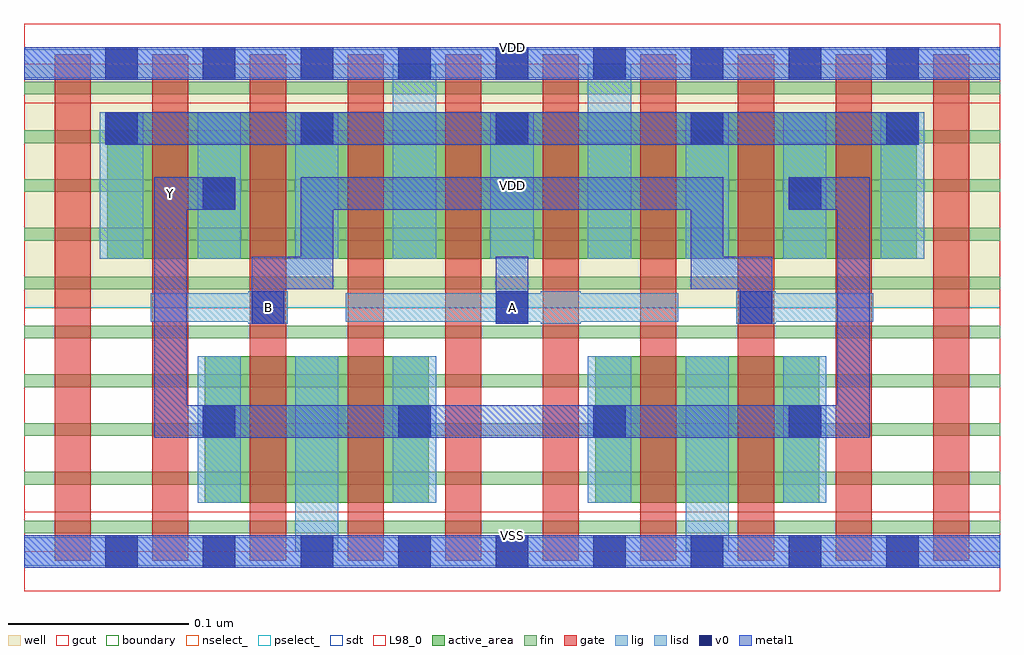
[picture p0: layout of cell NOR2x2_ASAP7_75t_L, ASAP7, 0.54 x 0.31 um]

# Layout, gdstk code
import gdstk
lib = gdstk.Library(unit=1e-6, precision=2.5e-10)
def R(c, l, rs):  # rectangles x0, y0, x1, y1
    for r in rs: c.add(gdstk.rectangle(r[:2], r[2:], *l))
def A(c, l, x, y, w, h, nx, ny, dx, dy):  # array of equal rectangles
    R(c, l, [(x+i*dx, y+j*dy, x+i*dx+w, y+j*dy+h) for i in range(nx) for j in range(ny)])
def P(c, l, *ps):  # polygons
    for p in ps: c.add(gdstk.Polygon(p, *l))
well = (1, 0)
fin = (2, 0)
gate = (7, 0)
gcut = (10, 0)
active_area = (11, 0)
nselect_ = (12, 0)
pselect_ = (13, 0)
lig = (16, 0)
lisd = (17, 0)
v0 = (18, 0)
metal1 = (19, 0)
sdt = (88, 0)
L98_0 = (98, 0)
boundary = (100, 0)

nor2x2_asap7_75t_l = lib.new_cell('NOR2x2_ASAP7_75t_L')
R(nor2x2_asap7_75t_l, well, [(0,0.135,0.54,0.27)])
A(nor2x2_asap7_75t_l, fin, 0, 0.01, 0.54, 0.007, 1, 10, 0, 0.027)
A(nor2x2_asap7_75t_l, gate, 0.017, -0.005, 0.02, 0.28, 10, 1, 0.054, 0)
R(nor2x2_asap7_75t_l, gcut, [(0,-0.022,0.54,0.022), (0,0.248,0.54,0.292)])
R(nor2x2_asap7_75t_l, active_area, [(0.1,0.027,0.224,0.108), (0.316,0.027,0.44,0.108), (0.046,0.162,0.494,0.243)])
R(nor2x2_asap7_75t_l, nselect_, [(0,0,0.54,0.135)])
R(nor2x2_asap7_75t_l, pselect_, [(0,0.135,0.54,0.27)])
R(nor2x2_asap7_75t_l, lig, [(0,-0.008,0.54,0.008), (0.124,0.126,0.146,0.144), (0.286,0.126,0.308,0.144), (0.394,0.126,0.416,0.144), (0.07,0.127,0.146,0.143), (0.178,0.127,0.362,0.143), (0.394,0.127,0.47,0.143), (0,0.262,0.54,0.278)])
A(nor2x2_asap7_75t_l, lisd, 0.096, 0.027, 0.024, 0.081, 4, 1, 0.108, 0)
A(nor2x2_asap7_75t_l, lisd, 0.042, 0.162, 0.024, 0.081, 3, 1, 0.054, 0)
A(nor2x2_asap7_75t_l, lisd, 0.366, 0.162, 0.024, 0.081, 3, 1, 0.054, 0)
R(nor2x2_asap7_75t_l, lisd, [(0.15,0,0.174,0.108), (0.15,0,0.174,0.108), (0.366,0,0.39,0.108), (0.366,0,0.39,0.108), (0.204,0.162,0.228,0.27), (0.204,0.162,0.228,0.27), (0.258,0.162,0.282,0.243), (0.312,0.162,0.336,0.27), (0.312,0.162,0.336,0.27)])
A(nor2x2_asap7_75t_l, v0, 0.045, -0.009, 0.018, 0.018, 9, 2, 0.054, 0.27)
A(nor2x2_asap7_75t_l, v0, 0.099, 0.063, 0.018, 0.018, 4, 1, 0.108, 0)
A(nor2x2_asap7_75t_l, v0, 0.126, 0.126, 0.018, 0.018, 3, 1, 0.135, 0)
A(nor2x2_asap7_75t_l, v0, 0.045, 0.225, 0.018, 0.018, 5, 1, 0.108, 0)
R(nor2x2_asap7_75t_l, v0, [(0.099,0.189,0.117,0.207), (0.423,0.189,0.441,0.207)])
A(nor2x2_asap7_75t_l, metal1, 0.099, 0.063, 0.018, 0.018, 4, 1, 0.108, 0)
A(nor2x2_asap7_75t_l, metal1, 0.126, 0.126, 0.018, 0.018, 3, 1, 0.135, 0)
A(nor2x2_asap7_75t_l, metal1, 0.045, 0.225, 0.018, 0.018, 5, 1, 0.108, 0)
R(nor2x2_asap7_75t_l, metal1, [(0,-0.009,0.54,0.009), (0.261,0.126,0.279,0.163), (0.099,0.189,0.117,0.207), (0.423,0.189,0.441,0.207), (0.045,0.225,0.495,0.243), (0,0.261,0.54,0.279)])
P(nor2x2_asap7_75t_l, metal1, [(0.396,0.126),(0.414,0.126),(0.414,0.163),(0.387,0.163),(0.387,0.207),(0.153,0.207),(0.153,0.163),(0.126,0.163),(0.126,0.126),(0.144,0.126),(0.144,0.145),(0.171,0.145),(0.171,0.189),(0.369,0.189),(0.369,0.145),(0.396,0.145)],
  [(0.423,0.207),(0.423,0.189),(0.45,0.189),(0.45,0.081),(0.09,0.081),(0.09,0.189),(0.117,0.189),(0.117,0.207),(0.072,0.207),(0.072,0.063),(0.468,0.063),(0.468,0.207)])
A(nor2x2_asap7_75t_l, sdt, 0.042, 0.162, 0.024, 0.081, 4, 1, 0.054, 0)
A(nor2x2_asap7_75t_l, sdt, 0.204, 0.162, 0.024, 0.081, 3, 1, 0.054, 0)
A(nor2x2_asap7_75t_l, sdt, 0.312, 0.162, 0.024, 0.081, 4, 1, 0.054, 0)
R(nor2x2_asap7_75t_l, sdt, [(0.096,0.027,0.12,0.108), (0.15,0.027,0.174,0.108), (0.15,0.027,0.174,0.108), (0.204,0.027,0.228,0.108), (0.312,0.027,0.336,0.108), (0.366,0.027,0.39,0.108), (0.366,0.027,0.39,0.108), (0.42,0.027,0.444,0.108)])
R(nor2x2_asap7_75t_l, L98_0, [(0,0,0.54,0.27)])
R(nor2x2_asap7_75t_l, boundary, [(0,0,0.54,0.27)])
nor2x2_asap7_75t_l.add(gdstk.Label('VDD', (0.27,0.2025), layer=1, texttype=251))
nor2x2_asap7_75t_l.add(gdstk.Label('VSS', (0.27,-0.0675), layer=3, texttype=251))
nor2x2_asap7_75t_l.add(gdstk.Label('VSS', (0.27,0.009), layer=19, texttype=251))
nor2x2_asap7_75t_l.add(gdstk.Label('VDD', (0.27,0.279), layer=19, texttype=251))
nor2x2_asap7_75t_l.add(gdstk.Label('B', (0.135,0.135), layer=19, texttype=251))
nor2x2_asap7_75t_l.add(gdstk.Label('Y', (0.081,0.198), layer=19, texttype=251))
nor2x2_asap7_75t_l.add(gdstk.Label('A', (0.27,0.135), layer=19, texttype=251))

lib.write_gds('NOR2x2_ASAP7_75t_L.gds')
